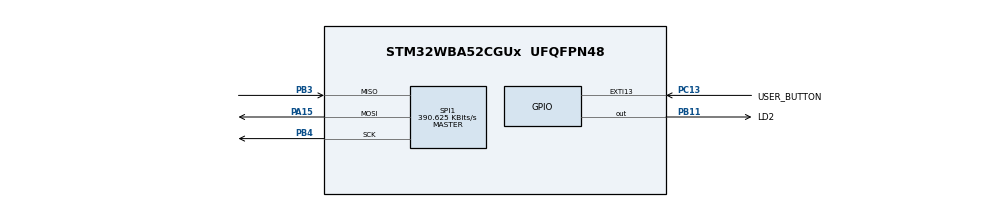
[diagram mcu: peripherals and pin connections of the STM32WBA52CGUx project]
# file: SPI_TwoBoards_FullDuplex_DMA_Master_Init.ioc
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CORTEX_M33_NS.userName=CORTEX_M33
GPDMA1.DESTINC_GPDMACH1=DMA_DINC_INCREMENTED
GPDMA1.DIRECTION_GPDMACH2=DMA_MEMORY_TO_PERIPH
GPDMA1.IPHANDLE_GPDMACH1-SIMPLEREQUEST_GPDMACH1=__NULL
GPDMA1.IPHANDLE_GPDMACH2-SIMPLEREQUEST_GPDMACH2=__NULL
GPDMA1.REQUEST_GPDMACH1=GPDMA1_REQUEST_SPI1_RX
GPDMA1.REQUEST_GPDMACH2=GPDMA1_REQUEST_SPI1_TX
GPDMA1.SRCINC_GPDMACH2=DMA_SINC_INCREMENTED
Mcu.Family=STM32WBA
Mcu.Name=STM32WBA52CGUx
Mcu.Package=UFQFPN48
NVIC.EXTI13_IRQn=true\:0\:0\:false\:false\:true\:true\:true\:true
NVIC.GPDMA1_Channel1_IRQn=true\:0\:0\:false\:false\:true\:false\:true\:true
NVIC.GPDMA1_Channel2_IRQn=true\:0\:0\:false\:false\:true\:false\:true\:true
NVIC.PriorityGroup=NVIC_PRIORITYGROUP_4
OSC_IN.Mode=HSE-External-Oscillator
OSC_IN.Signal=RCC_OSC_IN
OSC_OUT.Mode=HSE-External-Oscillator
OSC_OUT.Signal=RCC_OSC_OUT
PA15\ (JTDI).GPIO_PuPd=GPIO_PULLDOWN
PA15\ (JTDI).GPIO_Speed=GPIO_SPEED_FREQ_HIGH
PA15\ (JTDI).Mode=Full_Duplex_Master
PA15\ (JTDI).Signal=SPI1_MOSI
PB11.GPIO_Label=LD2
PB11.PinState=GPIO_PIN_SET
PB11.Signal=GPIO_Output
PB3\ (JTDO/TRACESWO).Mode=Full_Duplex_Master
PB3\ (JTDO/TRACESWO).Signal=SPI1_MISO
PB4\ (NJTRST).GPIO_PuPd=GPIO_PULLDOWN
PB4\ (NJTRST).GPIO_Speed=GPIO_SPEED_FREQ_HIGH
PB4\ (NJTRST).Mode=Full_Duplex_Master
PB4\ (NJTRST).Signal=SPI1_SCK
PC13.GPIO_Label=USER_BUTTON
PC13.GPIO_ModeDefaultEXTI=GPIO_MODE_IT_FALLING
PC13.GPIO_PuPd=GPIO_PULLUP
PC13.Signal=GPXTI13
ProjectManager.HeapSize=0x200
ProjectManager.StackSize=0x400
ProjectManager.TargetToolchain=EWARM V9.20
RCC.ADCFreq_Value=100000000
RCC.AHB5CLKDivider=DIV4
RCC.AHBFreq_Value=100000000
RCC.APB1Freq_Value=100000000
RCC.APB1TimFreq_Value=100000000
RCC.APB2Freq_Value=100000000
RCC.APB2TimFreq_Value=100000000
RCC.CortexFreq_Value=12500000
RCC.HCLKFreq_Value=100000000
RCC.HSE_VALUE=32000000
RCC.HSI_VALUE=16000000
RCC.LSE_VALUE=32768
RCC.PLLFRACN=0
RCC.PLLM=4
RCC.PLLN=25
RCC.PLLSourceVirtual=RCC_PLLSOURCE_HSE
RCC.SYSCLKFreq_VALUE=100000000
RCC.SYSCLKSourceVirtual=RCC_SYSCLKSOURCE_PLLCLK
RCC.VCOOutputFreq_Value=200000000
SPI1.BaudRatePrescaler=SPI_BAUDRATEPRESCALER_256
SPI1.CLKPhase=SPI_PHASE_1EDGE
SPI1.CLKPolarity=SPI_POLARITY_LOW
SPI1.CalculateBaudRate=390.625 KBits/s
SPI1.DataSize=SPI_DATASIZE_8BIT
SPI1.Direction=SPI_DIRECTION_2LINES
SPI1.Mode=SPI_MODE_MASTER
SPI1.VirtualType=VM_MASTER
VP_GPDMA1_VS_GPDMACH1.Mode=SIMPLEREQUEST_GPDMACH1
VP_GPDMA1_VS_GPDMACH2.Mode=SIMPLEREQUEST_GPDMACH2
VP_ICACHE_VS_ICACHE.Mode=DirectMappedCache
VP_PWR_VS_SECSignals.Mode=Security/Privilege
board=custom

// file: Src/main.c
/* USER CODE BEGIN Header */
/**
  ******************************************************************************
  * @file    Examples_LL/SPI/SPI_TwoBoards_FullDuplex_DMA_Master_Init/Src/main.c
  * @author  MCD Application Team
  * @brief   This example describes how to send/receive bytes over SPI IP using
  *          the STM32WBAxx SPI LL API.
  *          Peripheral initialization done using LL unitary services functions.
  ******************************************************************************
  * @attention
  *
  * Copyright (c) 2023 STMicroelectronics.
  * All rights reserved.
  *
  * This software is licensed under terms that can be found in the LICENSE file
  * in the root directory of this software component.
  * If no LICENSE file comes with this software, it is provided AS-IS.
  *
  ******************************************************************************
  */
/* USER CODE END Header */
#include "main.h"

/* USER CODE BEGIN PV */

__IO uint8_t ubButtonPress = 0;

/* Buffer used for transmission */
uint8_t aTxBuffer[] = "**** SPI_TwoBoards_FullDuplex_DMA communication **** SPI_TwoBoards_FullDuplex_DMA communication **** SPI_TwoBoards_FullDuplex_DMA communication ****";
uint8_t ubNbDataToTransmit = sizeof(aTxBuffer);
__IO uint8_t ubTransmissionComplete = 0;

/* Buffer used for reception */
uint8_t aRxBuffer[sizeof(aTxBuffer)];
uint8_t ubNbDataToReceive  = sizeof(aTxBuffer);
__IO uint8_t ubReceptionComplete = 0;

/* USER CODE END PV */

void SystemClock_Config(void);
static void MX_GPIO_Init(void);
static void MX_GPDMA1_Init(void);
static void MX_ICACHE_Init(void);
static void MX_SPI1_Init(void);
/* USER CODE BEGIN PFP */

void     SystemClock_Config(void);
void     Activate_SPI(void);
void     LED_On(void);
void     LED_Blinking(uint32_t Period);
void     LED_Off(void);
void     UserButton_Init(void);
void     WaitForUserButtonPress(void);
void     WaitAndCheckEndOfTransfer(void);
uint8_t  Buffercmp8(uint8_t *pBuffer1, uint8_t *pBuffer2, uint8_t BufferLength);

/* USER CODE END PFP */

int main(void)
{

  /* MCU Configuration--------------------------------------------------------*/

  /* Reset of all peripherals, Initializes the Flash interface and the Systick. */

  /* System interrupt init*/
  NVIC_SetPriorityGrouping(NVIC_PRIORITYGROUP_4);

  /* Enable PWR clock interface */

  LL_AHB4_GRP1_EnableClock(LL_AHB4_GRP1_PERIPH_PWR);

  /* Configure the system clock */
  SystemClock_Config();

  /* Initialize all configured peripherals */
  MX_GPIO_Init();
  MX_GPDMA1_Init();
  MX_ICACHE_Init();
  MX_SPI1_Init();
  /* USER CODE BEGIN 2 */
  UserButton_Init();
  /* Configure the DMA1_Channel2 functional parameters */
  LL_DMA_ConfigAddresses(GPDMA1, LL_DMA_CHANNEL_2, (uint32_t)aTxBuffer, (uint32_t)&(SPI1->TXDR));
  LL_DMA_SetBlkDataLength(GPDMA1, LL_DMA_CHANNEL_2, ubNbDataToReceive);
  LL_DMA_SetPeriphRequest(GPDMA1, LL_DMA_CHANNEL_2, LL_GPDMA1_REQUEST_SPI1_TX);

  /* Configure the DMA1_Channel1 functional parameters */
  LL_DMA_ConfigAddresses(GPDMA1, LL_DMA_CHANNEL_1, (uint32_t)&(SPI1->RXDR), (uint32_t)aRxBuffer);
  LL_DMA_SetBlkDataLength(GPDMA1, LL_DMA_CHANNEL_1, ubNbDataToTransmit);

  LL_DMA_SetPeriphRequest(GPDMA1, LL_DMA_CHANNEL_1, LL_GPDMA1_REQUEST_SPI1_RX);

  /* Enable DMA interrupts complete/error */
  LL_DMA_EnableIT_TC(GPDMA1, LL_DMA_CHANNEL_2);
  LL_DMA_EnableIT_DTE(GPDMA1, LL_DMA_CHANNEL_2);
  LL_DMA_EnableIT_TC(GPDMA1, LL_DMA_CHANNEL_1);
  LL_DMA_EnableIT_DTE(GPDMA1, LL_DMA_CHANNEL_1);

  /* Initialize FFIFO Threshold */
  LL_SPI_SetFIFOThreshold(SPI1, LL_SPI_FIFO_TH_01DATA);

  /* Configure SPI1 DMA transfer interrupts */
  /* Enable DMA TX Interrupt */
  LL_SPI_EnableDMAReq_TX(SPI1);

  /* Configure SPI1 DMA transfer interrupts */
  /* Enable DMA RX Interrupt */
  LL_SPI_EnableDMAReq_RX(SPI1);

  /* Wait for USER push-button press to start transfer */
  WaitForUserButtonPress();

  /* Enable the SPI1 peripheral */
  Activate_SPI();

  /* Start Master transfer */
  LL_SPI_StartMasterTransfer(SPI1);

  /* Wait for the end of the transfer and check received data */
  /* LED blinking FAST during waiting time */
  WaitAndCheckEndOfTransfer();
  /* USER CODE END 2 */

  /* Infinite loop */
  while (1)
  {

  }
}

void SystemClock_Config(void)
{
  LL_FLASH_SetLatency(LL_FLASH_LATENCY_3);
  while(LL_FLASH_GetLatency()!= LL_FLASH_LATENCY_3)
  {
  }

  LL_PWR_SetRegulVoltageScaling(LL_PWR_REGU_VOLTAGE_SCALE1);
  LL_RCC_HSE_Enable();

   /* Wait till HSE is ready */
  while(LL_RCC_HSE_IsReady() != 1)
  {
  }

  LL_RCC_PLL1_ConfigDomain_SYS(LL_RCC_PLL1SOURCE_HSE, 4, 25, 2);
  LL_RCC_PLL1_EnableDomain_PLL1R();
  LL_RCC_PLL1_SetVCOInputRange(LL_RCC_PLLINPUTRANGE_8_16);
  LL_RCC_PLL1_Enable();

   /* Wait till PLL is ready */
  while(LL_RCC_PLL1_IsReady() != 1)
  {
  }

  LL_RCC_SetSysClkSource(LL_RCC_SYS_CLKSOURCE_PLL1R);

   /* Wait till System clock is ready */
  while(LL_RCC_GetSysClkSource() != LL_RCC_SYS_CLKSOURCE_STATUS_PLL1R)
  {
  }

  LL_RCC_SetAHBPrescaler(LL_RCC_SYSCLK_DIV_1);
  LL_RCC_SetAHB5Prescaler(LL_RCC_AHB5_DIV_4);
  LL_RCC_SetAPB1Prescaler(LL_RCC_APB1_DIV_1);
  LL_RCC_SetAPB2Prescaler(LL_RCC_APB2_DIV_1);
  LL_RCC_SetAPB7Prescaler(LL_RCC_APB7_DIV_1);

  LL_Init1msTick(100000000);

  LL_SetSystemCoreClock(100000000);
}

static void MX_GPDMA1_Init(void)
{

  /* Peripheral clock enable */
  LL_AHB1_GRP1_EnableClock(LL_AHB1_GRP1_PERIPH_GPDMA1);

  /* GPDMA1 interrupt Init */
  NVIC_SetPriority(GPDMA1_Channel1_IRQn, NVIC_EncodePriority(NVIC_GetPriorityGrouping(),0, 0));
  NVIC_EnableIRQ(GPDMA1_Channel1_IRQn);
  NVIC_SetPriority(GPDMA1_Channel2_IRQn, NVIC_EncodePriority(NVIC_GetPriorityGrouping(),0, 0));
  NVIC_EnableIRQ(GPDMA1_Channel2_IRQn);

}

static void MX_ICACHE_Init(void)
{

  /** Enable instruction cache in 1-way (direct mapped cache)
  */
  LL_ICACHE_SetMode(LL_ICACHE_1WAY);
  LL_ICACHE_Enable();

}

static void MX_SPI1_Init(void)
{

  LL_SPI_InitTypeDef SPI_InitStruct = {0};

  LL_GPIO_InitTypeDef GPIO_InitStruct = {0};
  LL_DMA_InitTypeDef DMA_InitStruct = {0};

  LL_RCC_SetSPIClockSource(LL_RCC_SPI1_CLKSOURCE_PCLK2);

  /* Peripheral clock enable */
  LL_APB2_GRP1_EnableClock(LL_APB2_GRP1_PERIPH_SPI1);

  LL_AHB2_GRP1_EnableClock(LL_AHB2_GRP1_PERIPH_GPIOB);
  LL_AHB2_GRP1_EnableClock(LL_AHB2_GRP1_PERIPH_GPIOA);
  /**SPI1 GPIO Configuration
  PB4 (NJTRST)   ------> SPI1_SCK
  PB3 (JTDO/TRACESWO)   ------> SPI1_MISO
  PA15 (JTDI)   ------> SPI1_MOSI
  */
  GPIO_InitStruct.Pin = LL_GPIO_PIN_4;
  GPIO_InitStruct.Mode = LL_GPIO_MODE_ALTERNATE;
  GPIO_InitStruct.Speed = LL_GPIO_SPEED_FREQ_HIGH;
  GPIO_InitStruct.OutputType = LL_GPIO_OUTPUT_PUSHPULL;
  GPIO_InitStruct.Pull = LL_GPIO_PULL_DOWN;
  GPIO_InitStruct.Alternate = LL_GPIO_AF_5;
  LL_GPIO_Init(GPIOB, &GPIO_InitStruct);

  GPIO_InitStruct.Pin = LL_GPIO_PIN_3;
  GPIO_InitStruct.Mode = LL_GPIO_MODE_ALTERNATE;
  GPIO_InitStruct.Speed = LL_GPIO_SPEED_FREQ_LOW;
  GPIO_InitStruct.OutputType = LL_GPIO_OUTPUT_PUSHPULL;
  GPIO_InitStruct.Pull = LL_GPIO_PULL_NO;
  GPIO_InitStruct.Alternate = LL_GPIO_AF_5;
  LL_GPIO_Init(GPIOB, &GPIO_InitStruct);

  GPIO_InitStruct.Pin = LL_GPIO_PIN_15;
  GPIO_InitStruct.Mode = LL_GPIO_MODE_ALTERNATE;
  GPIO_InitStruct.Speed = LL_GPIO_SPEED_FREQ_HIGH;
  GPIO_InitStruct.OutputType = LL_GPIO_OUTPUT_PUSHPULL;
  GPIO_InitStruct.Pull = LL_GPIO_PULL_DOWN;
  GPIO_InitStruct.Alternate = LL_GPIO_AF_5;
  LL_GPIO_Init(GPIOA, &GPIO_InitStruct);

  /* SPI1 DMA Init */

  /* GPDMA1_REQUEST_SPI1_TX Init */
  DMA_InitStruct.SrcAddress = 0x00000000U;
  DMA_InitStruct.DestAddress = 0x00000000U;
  DMA_InitStruct.Direction = LL_DMA_DIRECTION_MEMORY_TO_PERIPH;
  DMA_InitStruct.BlkHWRequest = LL_DMA_HWREQUEST_SINGLEBURST;
  DMA_InitStruct.DataAlignment = LL_DMA_DATA_ALIGN_ZEROPADD;
  DMA_InitStruct.SrcBurstLength = 1;
  DMA_InitStruct.DestBurstLength = 1;
  DMA_InitStruct.SrcDataWidth = LL_DMA_SRC_DATAWIDTH_BYTE;
  DMA_InitStruct.DestDataWidth = LL_DMA_DEST_DATAWIDTH_BYTE;
  DMA_InitStruct.SrcIncMode = LL_DMA_SRC_INCREMENT;
  DMA_InitStruct.DestIncMode = LL_DMA_DEST_FIXED;
  DMA_InitStruct.Priority = LL_DMA_LOW_PRIORITY_LOW_WEIGHT;
  DMA_InitStruct.BlkDataLength = 0x00000000U;
  DMA_InitStruct.TriggerMode = LL_DMA_TRIGM_BLK_TRANSFER;
  DMA_InitStruct.TriggerPolarity = LL_DMA_TRIG_POLARITY_MASKED;
  DMA_InitStruct.TriggerSelection = 0x00000000U;
  DMA_InitStruct.Request = LL_GPDMA1_REQUEST_SPI1_TX;
  DMA_InitStruct.TransferEventMode = LL_DMA_TCEM_BLK_TRANSFER;
  DMA_InitStruct.SrcAllocatedPort = LL_DMA_SRC_ALLOCATED_PORT0;
  DMA_InitStruct.DestAllocatedPort = LL_DMA_DEST_ALLOCATED_PORT0;
  DMA_InitStruct.LinkAllocatedPort = LL_DMA_LINK_ALLOCATED_PORT1;
  DMA_InitStruct.LinkStepMode = LL_DMA_LSM_FULL_EXECUTION;
  DMA_InitStruct.LinkedListBaseAddr = 0x00000000U;
  DMA_InitStruct.LinkedListAddrOffset = 0x00000000U;
  LL_DMA_Init(GPDMA1, LL_DMA_CHANNEL_2, &DMA_InitStruct);

  /* GPDMA1_REQUEST_SPI1_RX Init */
  DMA_InitStruct.SrcAddress = 0x00000000U;
  DMA_InitStruct.DestAddress = 0x00000000U;
  DMA_InitStruct.Direction = LL_DMA_DIRECTION_PERIPH_TO_MEMORY;
  DMA_InitStruct.BlkHWRequest = LL_DMA_HWREQUEST_SINGLEBURST;
  DMA_InitStruct.DataAlignment = LL_DMA_DATA_ALIGN_ZEROPADD;
  DMA_InitStruct.SrcBurstLength = 1;
  DMA_InitStruct.DestBurstLength = 1;
  DMA_InitStruct.SrcDataWidth = LL_DMA_SRC_DATAWIDTH_BYTE;
  DMA_InitStruct.DestDataWidth = LL_DMA_DEST_DATAWIDTH_BYTE;
  DMA_InitStruct.SrcIncMode = LL_DMA_SRC_FIXED;
  DMA_InitStruct.DestIncMode = LL_DMA_DEST_INCREMENT;
  DMA_InitStruct.Priority = LL_DMA_LOW_PRIORITY_LOW_WEIGHT;
  DMA_InitStruct.BlkDataLength = 0x00000000U;
  DMA_InitStruct.TriggerMode = LL_DMA_TRIGM_BLK_TRANSFER;
  DMA_InitStruct.TriggerPolarity = LL_DMA_TRIG_POLARITY_MASKED;
  DMA_InitStruct.TriggerSelection = 0x00000000U;
  DMA_InitStruct.Request = LL_GPDMA1_REQUEST_SPI1_RX;
  DMA_InitStruct.TransferEventMode = LL_DMA_TCEM_BLK_TRANSFER;
  DMA_InitStruct.SrcAllocatedPort = LL_DMA_SRC_ALLOCATED_PORT0;
  DMA_InitStruct.DestAllocatedPort = LL_DMA_DEST_ALLOCATED_PORT0;
  DMA_InitStruct.LinkAllocatedPort = LL_DMA_LINK_ALLOCATED_PORT1;
  DMA_InitStruct.LinkStepMode = LL_DMA_LSM_FULL_EXECUTION;
  DMA_InitStruct.LinkedListBaseAddr = 0x00000000U;
  DMA_InitStruct.LinkedListAddrOffset = 0x00000000U;
  LL_DMA_Init(GPDMA1, LL_DMA_CHANNEL_1, &DMA_InitStruct);

  /* SPI1 parameter configuration*/
  SPI_InitStruct.TransferDirection = LL_SPI_FULL_DUPLEX;
  SPI_InitStruct.Mode = LL_SPI_MODE_MASTER;
  SPI_InitStruct.DataWidth = LL_SPI_DATAWIDTH_8BIT;
  SPI_InitStruct.ClockPolarity = LL_SPI_POLARITY_LOW;
  SPI_InitStruct.ClockPhase = LL_SPI_PHASE_1EDGE;
  SPI_InitStruct.NSS = LL_SPI_NSS_SOFT;
  SPI_InitStruct.BaudRate = LL_SPI_BAUDRATEPRESCALER_DIV256;
  SPI_InitStruct.BitOrder = LL_SPI_MSB_FIRST;
  SPI_InitStruct.CRCCalculation = LL_SPI_CRCCALCULATION_DISABLE;
  SPI_InitStruct.CRCPoly = 0x7;
  LL_SPI_Init(SPI1, &SPI_InitStruct);
  LL_SPI_SetStandard(SPI1, LL_SPI_PROTOCOL_MOTOROLA);
  LL_SPI_EnableNSSPulseMgt(SPI1);

}

static void MX_GPIO_Init(void)
{
  LL_EXTI_InitTypeDef EXTI_InitStruct = {0};
  LL_GPIO_InitTypeDef GPIO_InitStruct = {0};

  /* GPIO Ports Clock Enable */
  LL_AHB2_GRP1_EnableClock(LL_AHB2_GRP1_PERIPH_GPIOB);
  LL_AHB2_GRP1_EnableClock(LL_AHB2_GRP1_PERIPH_GPIOC);
  LL_AHB2_GRP1_EnableClock(LL_AHB2_GRP1_PERIPH_GPIOA);

  /**/
  LL_GPIO_SetOutputPin(LD2_GPIO_Port, LD2_Pin);

  /**/
  GPIO_InitStruct.Pin = LD2_Pin;
  GPIO_InitStruct.Mode = LL_GPIO_MODE_OUTPUT;
  GPIO_InitStruct.Speed = LL_GPIO_SPEED_FREQ_LOW;
  GPIO_InitStruct.OutputType = LL_GPIO_OUTPUT_PUSHPULL;
  GPIO_InitStruct.Pull = LL_GPIO_PULL_NO;
  LL_GPIO_Init(LD2_GPIO_Port, &GPIO_InitStruct);

  /**/
  LL_EXTI_SetEXTISource(LL_EXTI_CONFIG_PORTC, LL_EXTI_CONFIG_LINE13);

  /**/
  EXTI_InitStruct.Line_0_31 = LL_EXTI_LINE_13;
  EXTI_InitStruct.LineCommand = ENABLE;
  EXTI_InitStruct.Mode = LL_EXTI_MODE_IT;
  EXTI_InitStruct.Trigger = LL_EXTI_TRIGGER_FALLING;
  LL_EXTI_Init(&EXTI_InitStruct);

  /**/
  LL_GPIO_SetPinPull(USER_BUTTON_GPIO_Port, USER_BUTTON_Pin, LL_GPIO_PULL_UP);

  /**/
  LL_GPIO_SetPinMode(USER_BUTTON_GPIO_Port, USER_BUTTON_Pin, LL_GPIO_MODE_INPUT);

  /* EXTI interrupt init*/
  NVIC_SetPriority(EXTI13_IRQn, NVIC_EncodePriority(NVIC_GetPriorityGrouping(),0, 0));
  NVIC_EnableIRQ(EXTI13_IRQn);

}

/* USER CODE BEGIN 4 */

/**
  * @brief  This function Activate SPI1
  * @param  None
  * @retval None
  */
void Activate_SPI(void)
{
  /* Enable SPI1 */
  LL_SPI_Enable(SPI1);

  /* Enable DMA Channels */
  LL_DMA_EnableChannel(GPDMA1, LL_DMA_CHANNEL_2);
  LL_DMA_EnableChannel(GPDMA1, LL_DMA_CHANNEL_1);
}

/**
  * @brief  Turn-on LD2.
  * @param  None
  * @retval None
  */
void LED_On(void)
{
  /* Turn LD2 on */
  LL_GPIO_ResetOutputPin(LD2_GPIO_Port, LD2_Pin);
}

/**
  * @brief  Turn-off LD2.
  * @param  None
  * @retval None
  */
void LED_Off(void)
{
  /* Turn LD2 off */
  LL_GPIO_SetOutputPin(LD2_GPIO_Port, LD2_Pin);
}

/**
  * @brief  Set LD2 to Blinking mode for an infinite loop (toggle period based on value provided as input parameter).
  * @param  Period : Period of time (in ms) between each toggling of LED
  *   This parameter can be user defined values. Pre-defined values used in that example are :
  *     @arg LED_BLINK_FAST : Fast Blinking
  *     @arg LED_BLINK_SLOW : Slow Blinking
  *     @arg LED_BLINK_ERROR : Error specific Blinking
  * @retval None
  */
void LED_Blinking(uint32_t Period)
{
  /* Toggle LD2 in an infinite loop */
  while (1)
  {
    LL_GPIO_TogglePin(LD2_GPIO_Port, LD2_Pin);
    LL_mDelay(Period);
  }
}

/**
  * @brief  Configures USER push-button in GPIO or EXTI Line Mode.
  * @param  None
  * @retval None
  */
void UserButton_Init(void)
{
  /* Enable the BUTTON Clock */
  USER_BUTTON_GPIO_CLK_ENABLE();

  /* Configure GPIO for BUTTON */
  LL_GPIO_SetPinMode(USER_BUTTON_GPIO_PORT, USER_BUTTON_PIN, LL_GPIO_MODE_INPUT);
  LL_GPIO_SetPinPull(USER_BUTTON_GPIO_PORT, USER_BUTTON_PIN, LL_GPIO_PULL_UP);

  /* Connect External Line to the GPIO*/
  USER_BUTTON_SYSCFG_SET_EXTI();

  /* Enable a rising trigger External line 13 Interrupt */
  USER_BUTTON_EXTI_LINE_ENABLE();
  USER_BUTTON_EXTI_FALLING_TRIG_ENABLE();

  /* Configure NVIC for USER_BUTTON_EXTI_IRQn */
  NVIC_SetPriority(USER_BUTTON_EXTI_IRQn, 3);
  NVIC_EnableIRQ(USER_BUTTON_EXTI_IRQn);
}

/**
  * @brief  Wait for USER push-button press to start transfer.
  * @param  None
  * @retval None
  */
/*  */
void WaitForUserButtonPress(void)
{
  while (ubButtonPress == 0)
  {
    LL_GPIO_TogglePin(LD2_GPIO_Port, LD2_Pin);
    LL_mDelay(LED_BLINK_FAST);
  }
  /* Ensure that LD2 is turned Off */
  LED_Off();
}

/**
  * @brief  Wait end of transfer and check if received Data are well.
  * @param  None
  * @retval None
  */
void WaitAndCheckEndOfTransfer(void)
{
  /* 1 - Wait end of transmission */
  while (ubTransmissionComplete != 1)
  {
  }
  /* Disable GPDMA1 Tx Channel */
  LL_DMA_DisableChannel(GPDMA1, LL_DMA_CHANNEL_1);
  /* 2 - Wait end of reception */
  while (ubReceptionComplete != 1)
  {
  }
  /* Disable GPDMA1 Rx Channel */
  LL_DMA_DisableChannel(GPDMA1, LL_DMA_CHANNEL_2);
  /* 3 - Compare Transmit data to receive data */
  if (Buffercmp8((uint8_t *)aTxBuffer, (uint8_t *)aRxBuffer, ubNbDataToTransmit))
  {
    /* Processing Error */
    LED_Blinking(LED_BLINK_ERROR);
  }
  else
  {
    /* Turn On Led if data are well received */
    LED_On();
  }
}

/**
* @brief Compares two 8-bit buffers and returns the comparison result.
* @param pBuffer1: pointer to the source buffer to be compared to.
* @param pBuffer2: pointer to the second source buffer to be compared to the first.
* @param BufferLength: buffer's length.
* @retval   0: Comparison is OK (the two Buffers are identical)
*           Value different from 0: Comparison is NOK (Buffers are different)
*/
uint8_t Buffercmp8(uint8_t *pBuffer1, uint8_t *pBuffer2, uint8_t BufferLength)
{
  while (BufferLength--)
  {
    if (*pBuffer1 != *pBuffer2)
    {
      return 1;
    }

    pBuffer1++;
    pBuffer2++;
  }

  return 0;
}

/******************************************************************************/
/*   USER IRQ HANDLER TREATMENT Functions                                     */
/******************************************************************************/
/**
  * @brief  Function to manage USER push-button
  * @param  None
  * @retval None
  */
void UserButton_Callback(void)
{
  /* Update USER push-button variable : to be checked in waiting loop in main program */
  ubButtonPress = 1;
}

/**
  * @brief  Function called from GPDMA1 IRQ Handler when Rx transfer is completed
  * @param  None
  * @retval None
  */
void GPDMA1_ReceiveComplete_Callback(void)
{
  /* DMA Rx transfer completed */
  ubReceptionComplete = 1;
}

/**
  * @brief  Function called from GPDMA1 IRQ Handler when Tx transfer is completed
  * @param  None
  * @retval None
  */
void GPDMA1_TransmitComplete_Callback(void)
{
  /* DMA Tx transfer completed */
  ubTransmissionComplete = 1;
}

/**
  * @brief  Function called in case of error detected in SPI IT Handler
  * @param  None
  * @retval None
  */
void SPI1_TransferError_Callback(void)
{
  /* Disable GPDMA1 Rx Channel */
  LL_DMA_DisableChannel(GPDMA1, LL_DMA_CHANNEL_2);

  /* Disable GPDMA1 Tx Channel */
  LL_DMA_DisableChannel(GPDMA1, LL_DMA_CHANNEL_1);
  /* Set LD2 to Blinking mode to indicate error occurs */
  LED_Blinking(LED_BLINK_ERROR);
}

/* USER CODE END 4 */

void Error_Handler(void)
{
}
